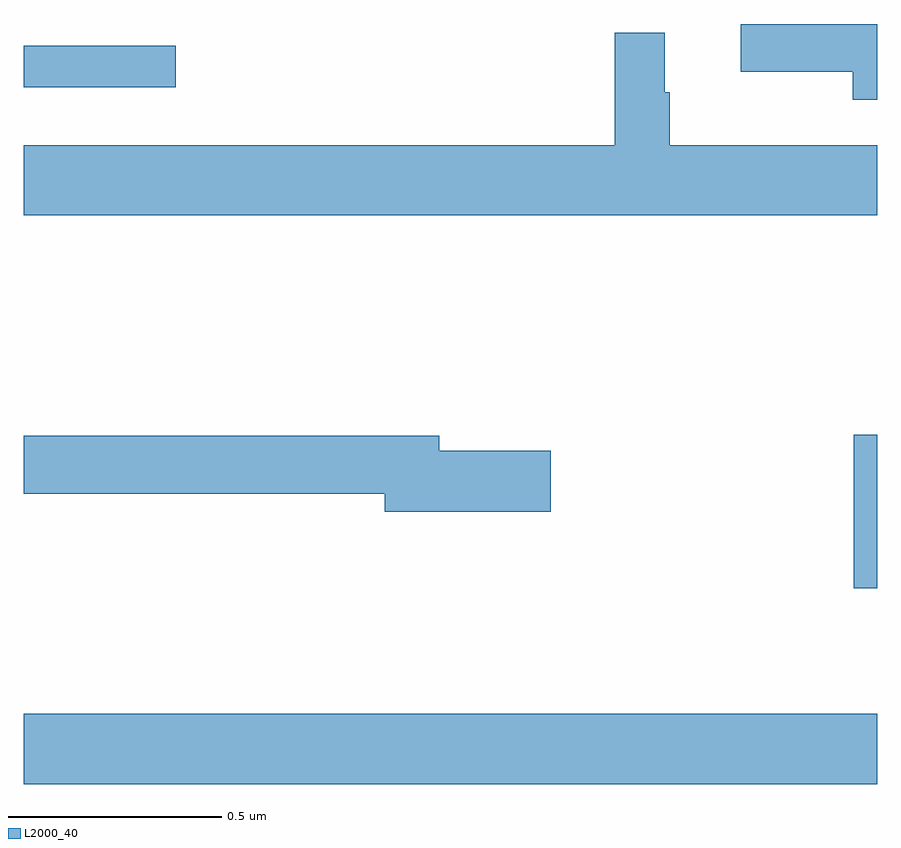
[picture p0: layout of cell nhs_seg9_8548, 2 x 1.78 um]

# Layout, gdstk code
import gdstk
lib = gdstk.Library(unit=1e-6, precision=1e-09)
def R(c, l, rs):  # rectangles x0, y0, x1, y1
    for r in rs: c.add(gdstk.rectangle(r[:2], r[2:], *l))
def P(c, l, *ps):  # polygons
    for p in ps: c.add(gdstk.Polygon(p, *l))
L2000_40 = (2000, 40)

nhs_seg9_8548 = lib.new_cell('nhs_seg9_8548')
R(nhs_seg9_8548, L2000_40, [(218,1229.72,220,1229.884), (219.944,1230.178,220,1230.538), (218,1231.352,218.356,1231.449)])
P(nhs_seg9_8548, L2000_40, [(220,1231.5),(219.68,1231.5),(219.68,1231.388),(219.942,1231.388),(219.942,1231.323),(220,1231.323)],
  [(220,1231.216),(219.514,1231.216),(219.514,1231.34),(219.502,1231.34),(219.502,1231.48),(219.385,1231.48),(219.385,1231.216),(218,1231.216),(218,1231.052),(220,1231.052)],
  [(219.235,1230.5),(218.974,1230.5),(218.974,1230.536),(218,1230.536),(218,1230.4),(218.846,1230.4),(218.846,1230.358),(219.235,1230.358)])

lib.write_gds('nhs_seg9_8548.gds')
